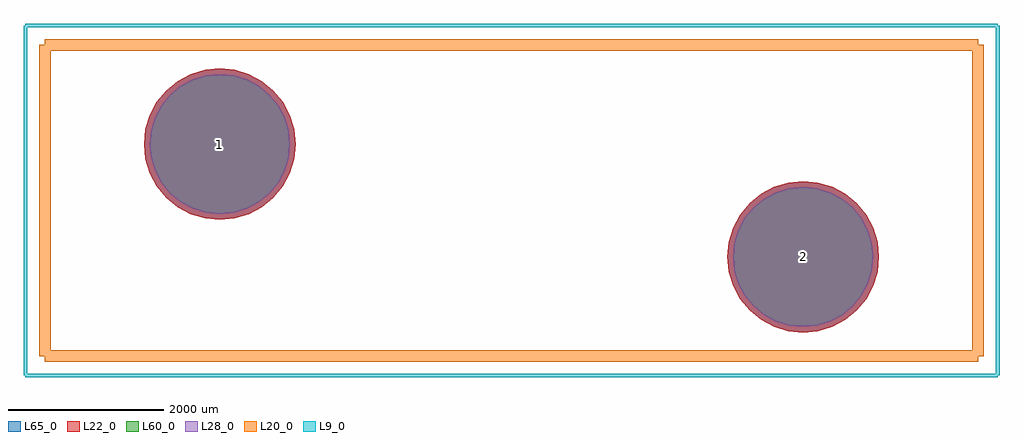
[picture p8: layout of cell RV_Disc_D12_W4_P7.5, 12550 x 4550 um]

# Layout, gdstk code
import gdstk
lib = gdstk.Library(unit=1e-6, precision=1e-09)
def P(c, l, *ps):  # polygons
    for p in ps: c.add(gdstk.Polygon(p, *l))
L9_0 = (9, 0)
L20_0 = (20, 0)
L22_0 = (22, 0)
L28_0 = (28, 0)
L60_0 = (60, 0)
L65_0 = (65, 0)

rv_disc_d12_w4_p7_5 = lib.new_cell('RV_Disc_D12_W4_P7.5')
P(rv_disc_d12_w4_p7_5, L22_0, [(8475,-1450),(8456.266,-1259.787),(8400.783,-1076.884),(8310.683,-908.319),(8189.429,-760.571),(8041.681,-639.317),(7873.116,-549.217),(7690.213,-493.734),(7500,-475),(7309.787,-493.734),(7126.884,-549.217),(6958.319,-639.317),(6810.571,-760.571),(6689.317,-908.319),(6599.217,-1076.884),(6543.734,-1259.787),(6525,-1450),(6543.734,-1640.213),(6599.217,-1823.116),(6689.317,-1991.681),(6810.571,-2139.429),(6958.319,-2260.683),(7126.884,-2350.783),(7309.787,-2406.266),(7500,-2425),(7690.213,-2406.266),(7873.116,-2350.783),(8041.681,-2260.683),(8189.429,-2139.429),(8310.683,-1991.681),(8400.783,-1823.116),(8456.266,-1640.213)],
  [(975,0),(956.266,190.213),(900.783,373.116),(810.683,541.681),(689.429,689.429),(541.681,810.683),(373.116,900.783),(190.213,956.266),(0,975),(-190.213,956.266),(-373.116,900.783),(-541.681,810.683),(-689.429,689.429),(-810.683,541.681),(-900.783,373.116),(-956.266,190.213),(-975,0),(-956.266,-190.213),(-900.783,-373.116),(-810.683,-541.681),(-689.429,-689.429),(-541.681,-810.683),(-373.116,-900.783),(-190.213,-956.266),(0,-975),(190.213,-956.266),(373.116,-900.783),(541.681,-810.683),(689.429,-689.429),(810.683,-541.681),(900.783,-373.116),(956.266,-190.213)])
P(rv_disc_d12_w4_p7_5, L28_0, [(8400,-1450),(8382.707,-1274.419),(8331.492,-1105.585),(8248.323,-949.987),(8136.396,-813.604),(8000.013,-701.677),(7844.415,-618.508),(7675.581,-567.293),(7500,-550),(7324.419,-567.293),(7155.585,-618.508),(6999.987,-701.677),(6863.604,-813.604),(6751.677,-949.987),(6668.508,-1105.585),(6617.293,-1274.419),(6600,-1450),(6617.293,-1625.581),(6668.508,-1794.415),(6751.677,-1950.013),(6863.604,-2086.396),(6999.987,-2198.323),(7155.585,-2281.492),(7324.419,-2332.707),(7500,-2350),(7675.581,-2332.707),(7844.415,-2281.492),(8000.013,-2198.323),(8136.396,-2086.396),(8248.323,-1950.013),(8331.492,-1794.415),(8382.707,-1625.581)],
  [(900,0),(882.707,175.581),(831.492,344.415),(748.323,500.013),(636.396,636.396),(500.013,748.323),(344.415,831.492),(175.581,882.707),(0,900),(-175.581,882.707),(-344.415,831.492),(-500.013,748.323),(-636.396,636.396),(-748.323,500.013),(-831.492,344.415),(-882.707,175.581),(-900,0),(-882.707,-175.581),(-831.492,-344.415),(-748.323,-500.013),(-636.396,-636.396),(-500.013,-748.323),(-344.415,-831.492),(-175.581,-882.707),(0,-900),(175.581,-882.707),(344.415,-831.492),(500.013,-748.323),(636.396,-636.396),(748.323,-500.013),(831.492,-344.415),(882.707,-175.581)])
P(rv_disc_d12_w4_p7_5, L60_0, [(8400,-1450),(8382.707,-1274.419),(8331.492,-1105.585),(8248.323,-949.987),(8136.396,-813.604),(8000.013,-701.677),(7844.415,-618.508),(7675.581,-567.293),(7500,-550),(7324.419,-567.293),(7155.585,-618.508),(6999.987,-701.677),(6863.604,-813.604),(6751.677,-949.987),(6668.508,-1105.585),(6617.293,-1274.419),(6600,-1450),(6617.293,-1625.581),(6668.508,-1794.415),(6751.677,-1950.013),(6863.604,-2086.396),(6999.987,-2198.323),(7155.585,-2281.492),(7324.419,-2332.707),(7500,-2350),(7675.581,-2332.707),(7844.415,-2281.492),(8000.013,-2198.323),(8136.396,-2086.396),(8248.323,-1950.013),(8331.492,-1794.415),(8382.707,-1625.581)],
  [(900,0),(882.707,175.581),(831.492,344.415),(748.323,500.013),(636.396,636.396),(500.013,748.323),(344.415,831.492),(175.581,882.707),(0,900),(-175.581,882.707),(-344.415,831.492),(-500.013,748.323),(-636.396,636.396),(-748.323,500.013),(-831.492,344.415),(-882.707,175.581),(-900,0),(-882.707,-175.581),(-831.492,-344.415),(-748.323,-500.013),(-636.396,-636.396),(-500.013,-748.323),(-344.415,-831.492),(-175.581,-882.707),(0,-900),(175.581,-882.707),(344.415,-831.492),(500.013,-748.323),(636.396,-636.396),(748.323,-500.013),(831.492,-344.415),(882.707,-175.581)])
P(rv_disc_d12_w4_p7_5, L65_0, [(8475,-1450),(8456.266,-1259.787),(8400.783,-1076.884),(8310.683,-908.319),(8189.429,-760.571),(8041.681,-639.317),(7873.116,-549.217),(7690.213,-493.734),(7500,-475),(7309.787,-493.734),(7126.884,-549.217),(6958.319,-639.317),(6810.571,-760.571),(6689.317,-908.319),(6599.217,-1076.884),(6543.734,-1259.787),(6525,-1450),(6543.734,-1640.213),(6599.217,-1823.116),(6689.317,-1991.681),(6810.571,-2139.429),(6958.319,-2260.683),(7126.884,-2350.783),(7309.787,-2406.266),(7500,-2425),(7690.213,-2406.266),(7873.116,-2350.783),(8041.681,-2260.683),(8189.429,-2139.429),(8310.683,-1991.681),(8400.783,-1823.116),(8456.266,-1640.213)],
  [(975,0),(956.266,190.213),(900.783,373.116),(810.683,541.681),(689.429,689.429),(541.681,810.683),(373.116,900.783),(190.213,956.266),(0,975),(-190.213,956.266),(-373.116,900.783),(-541.681,810.683),(-689.429,689.429),(-810.683,541.681),(-900.783,373.116),(-956.266,190.213),(-975,0),(-956.266,-190.213),(-900.783,-373.116),(-810.683,-541.681),(-689.429,-689.429),(-541.681,-810.683),(-373.116,-900.783),(-190.213,-956.266),(0,-975),(190.213,-956.266),(373.116,-900.783),(541.681,-810.683),(689.429,-689.429),(810.683,-541.681),(900.783,-373.116),(956.266,-190.213)])
rv_disc_d12_w4_p7_5.add(gdstk.FlexPath([(-2250,1275),(-2250,-2725)], 149.998, ends="flush", simple_path=True, layer=20, datatype=0))  # L20_0
rv_disc_d12_w4_p7_5.add(gdstk.FlexPath([(9750,1275),(9750,-2725)], 149.998, ends="flush", simple_path=True, layer=20, datatype=0))  # L20_0
rv_disc_d12_w4_p7_5.add(gdstk.FlexPath([(-2250,1275),(9750,1275)], 149.998, ends="flush", simple_path=True, layer=20, datatype=0))  # L20_0
rv_disc_d12_w4_p7_5.add(gdstk.FlexPath([(-2250,-2725),(9750,-2725)], 149.998, ends="flush", simple_path=True, layer=20, datatype=0))  # L20_0
rv_disc_d12_w4_p7_5.add(gdstk.FlexPath([(-2500,1525),(-2500,-2975)], 50, ends="flush", simple_path=True, layer=9, datatype=0))  # L9_0
rv_disc_d12_w4_p7_5.add(gdstk.FlexPath([(10000,1525),(10000,-2975)], 50, ends="flush", simple_path=True, layer=9, datatype=0))  # L9_0
rv_disc_d12_w4_p7_5.add(gdstk.FlexPath([(-2500,1525),(10000,1525)], 50, ends="flush", simple_path=True, layer=9, datatype=0))  # L9_0
rv_disc_d12_w4_p7_5.add(gdstk.FlexPath([(-2500,-2975),(10000,-2975)], 50, ends="flush", simple_path=True, layer=9, datatype=0))  # L9_0
rv_disc_d12_w4_p7_5.add(gdstk.Label('2', (7500,-1450), layer=28, texttype=0))
rv_disc_d12_w4_p7_5.add(gdstk.Label('1', (0,0), layer=28, texttype=0))
rv_disc_d12_w4_p7_5.add(gdstk.Label('type', (3750,2275), layer=9, texttype=0))
rv_disc_d12_w4_p7_5.add(gdstk.Label('devicename', (3750,-3725), layer=9, texttype=0))

lib.write_gds('RV_Disc_D12_W4_P7.5.gds')
